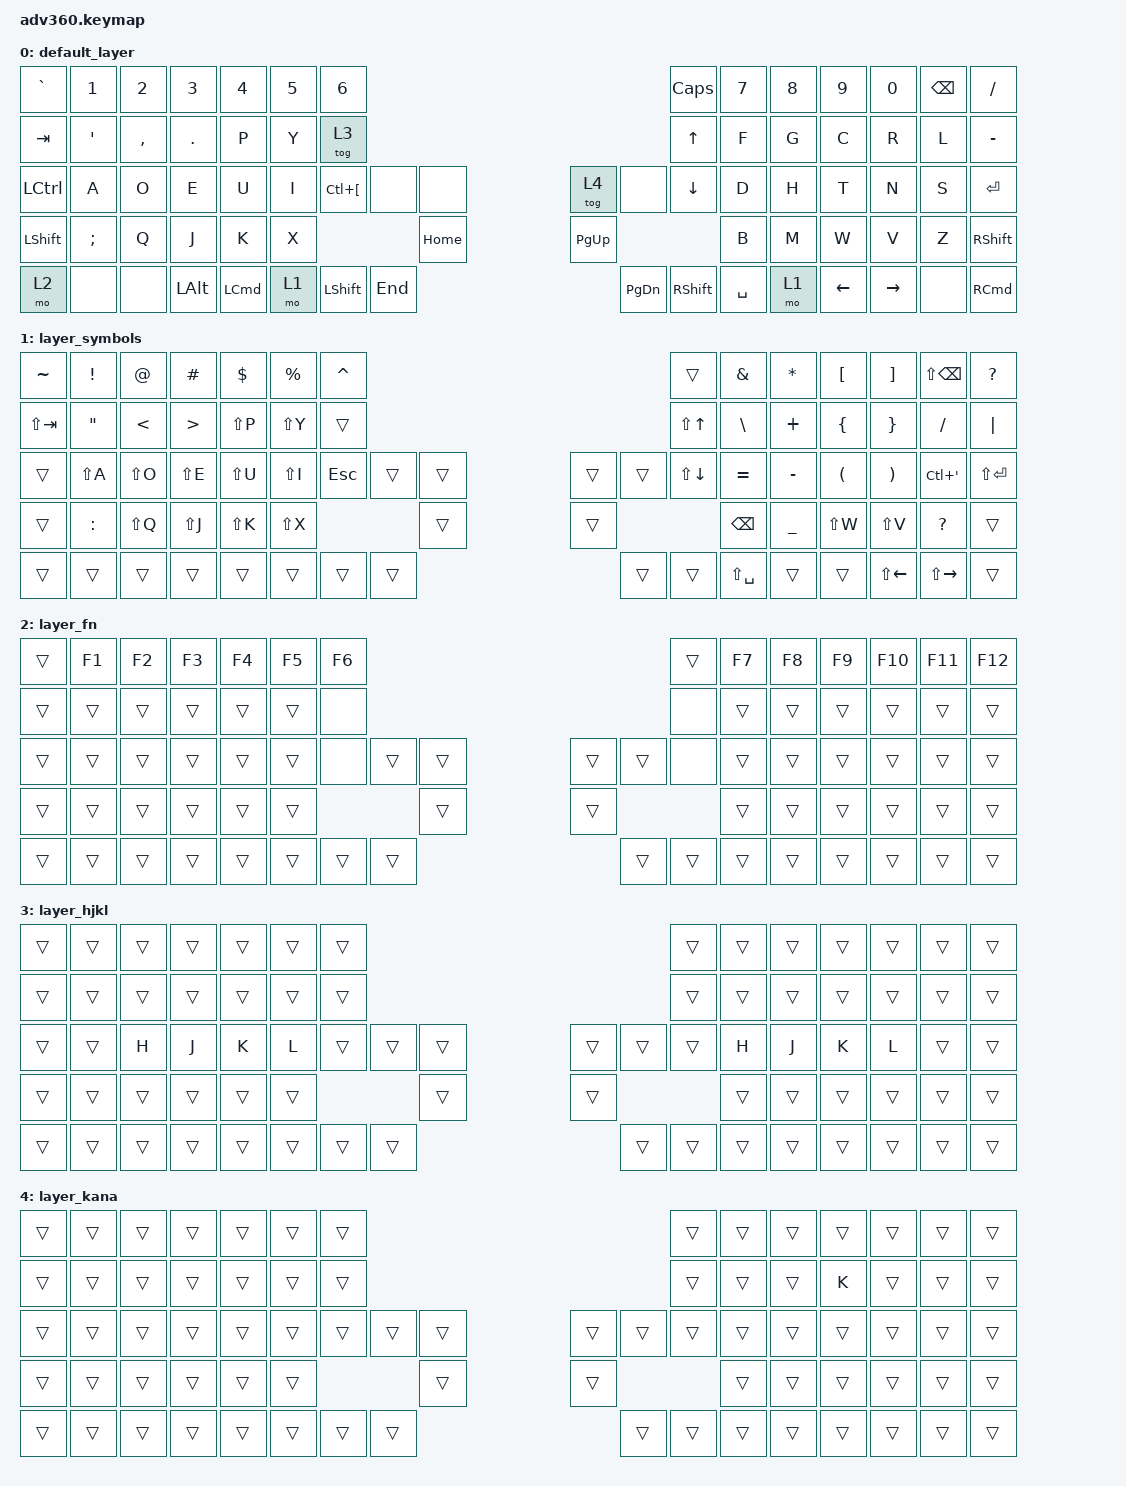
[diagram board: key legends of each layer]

/*
 * Copyright (c) 2020 The ZMK Contributors
 *
 * SPDX-License-Identifier: MIT
 */


/* THIS FILE WAS GENERATED!
 *
 * This file was generated automatically. You may or may not want to
 * edit it directly.
 */

#include <behaviors.dtsi>
#include <dt-bindings/zmk/keys.h>

/ {
  behaviors {
    #include "macros.dtsi"
    #include "version.dtsi"

    hm: homerow_mods {
        compatible = "zmk,behavior-hold-tap";
        label = "HOMEROW_MODS";
        #binding-cells = <2>;
        tapping-term-ms = <200>;
        quick_tap_ms = <175>;
        flavor = "tap-preferred";
        bindings = <&kp>, <&kp>;
    };
  };

    keymap {
        compatible = "zmk,keymap";


        default_layer {
            bindings = <
 &kp GRAVE    &kp N1     &kp N2    &kp N3    &kp N4  &kp N5                  &kp N6                                                              &kp CAPS  &kp N7  &kp N8    &kp N9     &kp N0  &kp BSPC  &kp SLASH
   &kp TAB   &kp SQT  &kp COMMA   &kp DOT     &kp P   &kp Y                  &tog 3                                                                &kp UP   &kp F   &kp G     &kp C      &kp R     &kp L  &kp MINUS
 &kp LCTRL     &kp A      &kp O     &kp E     &kp U   &kp I            &kp LC(LBKT)      &none     &none                     &tog 4      &none   &kp DOWN   &kp D   &kp H     &kp T      &kp N     &kp S  &kp ENTER
 &kp LSHFT  &kp SEMI      &kp Q     &kp J     &kp K   &kp X                                     &kp HOME                  &kp PG_UP                         &kp B   &kp M     &kp W      &kp V     &kp Z  &kp RSHFT
     &mo 2     &none      &none  &kp LALT  &kp LCMD                           &mo 1  &kp LSHFT   &kp END                  &kp PG_DN  &kp RSHFT  &kp SPACE           &mo 1  &kp LEFT  &kp RIGHT     &none   &kp RCMD
            >;
        };

        layer_symbols {
            bindings = <
   &kp TILDE   &kp EXCL     &kp AT   &kp HASH  &kp DOLLAR  &kp PERCENT            &kp CARET                                                         &trans   &kp AMPS  &kp ASTERISK   &kp LBKT      &kp RBKT   &kp LS(BSPC)      &kp QMARK
 &kp LS(TAB)    &kp DQT     &kp LT     &kp GT   &kp LS(P)    &kp LS(Y)               &trans                                                     &kp LS(UP)   &kp BSLH      &kp PLUS   &kp LBRC      &kp RBRC      &kp SLASH       &kp PIPE
      &trans  &kp LS(A)  &kp LS(O)  &kp LS(E)   &kp LS(U)    &kp LS(I)              &kp ESC  &trans  &trans                  &trans  &trans   &kp LS(DOWN)  &kp EQUAL     &kp MINUS   &kp LPAR      &kp RPAR    &kp LC(SQT)  &kp LS(ENTER)
      &trans  &kp COLON  &kp LS(Q)  &kp LS(J)   &kp LS(K)    &kp LS(X)                               &trans                  &trans                          &kp BSPC     &kp UNDER  &kp LS(W)     &kp LS(V)      &kp QMARK         &trans
      &trans     &trans     &trans     &trans      &trans                            &trans  &trans  &trans                  &trans  &trans  &kp LS(SPACE)                   &trans     &trans  &kp LS(LEFT)  &kp LS(RIGHT)         &trans
            >;
        };

        layer_fn {
            bindings = <
 &trans  &kp F1  &kp F2  &kp F3  &kp F4  &kp F5            &kp F6                                                  &trans  &kp F7  &kp F8  &kp F9  &kp F10  &kp F11  &kp F12
 &trans  &trans  &trans  &trans  &trans  &trans             &none                                                   &none  &trans  &trans  &trans   &trans   &trans   &trans
 &trans  &trans  &trans  &trans  &trans  &trans             &none  &trans  &trans                  &trans  &trans   &none  &trans  &trans  &trans   &trans   &trans   &trans
 &trans  &trans  &trans  &trans  &trans  &trans                            &trans                  &trans                  &trans  &trans  &trans   &trans   &trans   &trans
 &trans  &trans  &trans  &trans  &trans                    &trans  &trans  &trans                  &trans  &trans  &trans          &trans  &trans   &trans   &trans   &trans
            >;
        };

        layer_hjkl {
            bindings = <
 &trans  &trans  &trans  &trans  &trans  &trans            &trans                                                  &trans  &trans  &trans  &trans  &trans  &trans  &trans
 &trans  &trans  &trans  &trans  &trans  &trans            &trans                                                  &trans  &trans  &trans  &trans  &trans  &trans  &trans
 &trans  &trans   &kp H   &kp J   &kp K   &kp L            &trans  &trans  &trans                  &trans  &trans  &trans   &kp H   &kp J   &kp K   &kp L  &trans  &trans
 &trans  &trans  &trans  &trans  &trans  &trans                            &trans                  &trans                  &trans  &trans  &trans  &trans  &trans  &trans
 &trans  &trans  &trans  &trans  &trans                    &trans  &trans  &trans                  &trans  &trans  &trans          &trans  &trans  &trans  &trans  &trans
            >;
        };

        layer_kana {
            bindings = <
 &trans  &trans  &trans  &trans  &trans  &trans            &trans                                                  &trans  &trans  &trans  &trans  &trans  &trans  &trans
 &trans  &trans  &trans  &trans  &trans  &trans            &trans                                                  &trans  &trans  &trans   &kp K  &trans  &trans  &trans
 &trans  &trans  &trans  &trans  &trans  &trans            &trans  &trans  &trans                  &trans  &trans  &trans  &trans  &trans  &trans  &trans  &trans  &trans
 &trans  &trans  &trans  &trans  &trans  &trans                            &trans                  &trans                  &trans  &trans  &trans  &trans  &trans  &trans
 &trans  &trans  &trans  &trans  &trans                    &trans  &trans  &trans                  &trans  &trans  &trans          &trans  &trans  &trans  &trans  &trans
            >;
        };

    };
};
